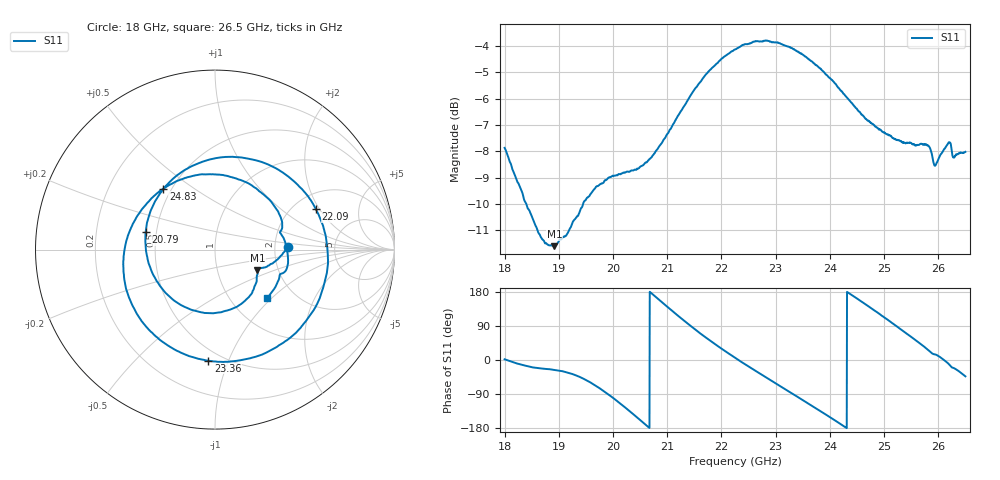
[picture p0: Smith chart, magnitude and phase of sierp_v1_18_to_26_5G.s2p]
!Keysight Technologies,N5222B,MY60213399,A.14.00.23
!Date: Tuesday, February 27, 2024 20:51:50
!Correction: S11(C  1-Port  )
!S21(Off)
!S12(Off)
!S22(Off)
!S2P File: Measurement: :
# Hz S  dB  R 50
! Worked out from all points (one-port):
!   1601 points, 18 GHz to 26.5 GHz, reference 50 ohm
!   lowest |S11| = -11.6 dB at 18.92 GHz (marker M1), VSWR 1.71, Z = 77.9 - j19.4 ohm
!   |S11| at or under -10 dB: 18.4 GHz to 19.45 GHz (1.048 GHz wide, 5.54 % of centre)
!   S11 on the Smith chart (normalised r, x): 18 GHz: 2.35, +0.08; 20.79 GHz: 0.44, +0.10; 22.09 GHz: 2.62, +1.86; 23.36 GHz: 0.42, -0.85; 24.83 GHz: 0.45, +0.38; 26.5 GHz: 1.46, -0.94
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1.8e10  -7.87 1.9  -200.00 45.0  -200.00 45.0  -200.00 45.0
1.891906e10  -11.61 -26.2  -200.00 45.0  -200.00 45.0  -200.00 45.0
1.941844e10  -10.15 -47.2  -200.00 45.0  -200.00 45.0  -200.00 45.0
2.010906e10  -8.87 -112.3  -200.00 45.0  -200.00 45.0  -200.00 45.0
2.079438e10  -7.98 165.6  -200.00 45.0  -200.00 45.0  -200.00 45.0
2.083688e10  -7.86 160.4  -200.00 45.0  -200.00 45.0  -200.00 45.0
2.112906e10  -6.91 125.1  -200.00 45.0  -200.00 45.0  -200.00 45.0
2.1485e10  -5.70 84.1  -200.00 45.0  -200.00 45.0  -200.00 45.0
2.176125e10  -4.96 54.3  -200.00 45.0  -200.00 45.0  -200.00 45.0
2.208531e10  -4.35 21.8  -200.00 45.0  -200.00 45.0  -200.00 45.0
2.225e10  -4.13 6.2  -200.00 45.0  -200.00 45.0  -200.00 45.0
2.255281e10  -3.88 -22.1  -200.00 45.0  -200.00 45.0  -200.00 45.0
2.286094e10  -3.80 -49.4  -200.00 45.0  -200.00 45.0  -200.00 45.0
2.336031e10  -4.15 -93.4  -200.00 45.0  -200.00 45.0  -200.00 45.0
2.366844e10  -4.58 -120.7  -200.00 45.0  -200.00 45.0  -200.00 45.0
2.422625e10  -5.74 -171.8  -200.00 45.0  -200.00 45.0  -200.00 45.0
2.482656e10  -7.02 130.2  -200.00 45.0  -200.00 45.0  -200.00 45.0
2.508688e10  -7.38 104.1  -200.00 45.0  -200.00 45.0  -200.00 45.0
2.545875e10  -7.67 65.3  -200.00 45.0  -200.00 45.0  -200.00 45.0
2.581469e10  -7.78 26.3  -200.00 45.0  -200.00 45.0  -200.00 45.0
2.618125e10  -7.70 -9.0  -200.00 45.0  -200.00 45.0  -200.00 45.0
2.65e10  -8.02 -43.1  -200.00 45.0  -200.00 45.0  -200.00 45.0
